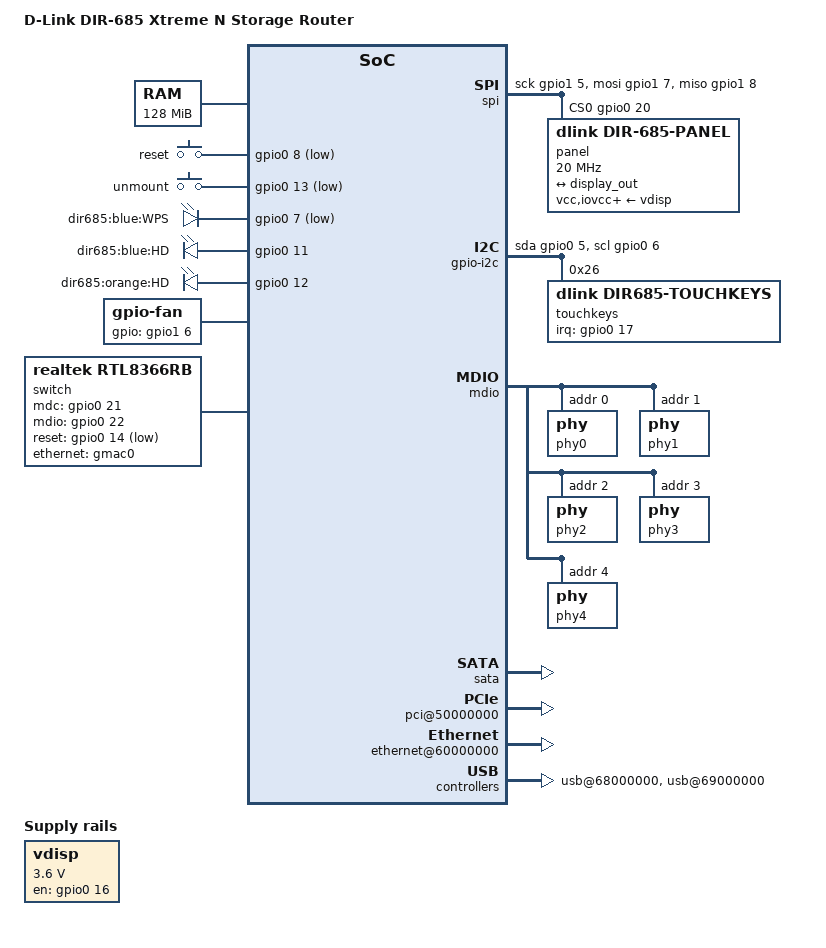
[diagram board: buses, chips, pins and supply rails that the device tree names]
/*
 * Device Tree file for D-Link DIR-685 Xtreme N Storage Router
 */

/dts-v1/;

#include "gemini.dtsi"
#include <dt-bindings/input/input.h>

/ {
	model = "D-Link DIR-685 Xtreme N Storage Router";
	compatible = "dlink,dir-685", "cortina,gemini";
	#address-cells = <1>;
	#size-cells = <1>;

	memory@0 {
		/* 128 MB SDRAM in 2 x Hynix HY5DU121622DTP-D43 */
		device_type = "memory";
		reg = <0x00000000 0x8000000>;
	};

	chosen {
		bootargs = "console=ttyS0,19200n8 root=/dev/sda1 rw rootwait";
		stdout-path = "uart0:19200n8";
	};

	gpio_keys {
		compatible = "gpio-keys";

		button-esc {
			debounce-interval = <100>;
			wakeup-source;
			linux,code = <KEY_ESC>;
			label = "reset";
			/* Collides with LPC_LAD[0], UART DCD, SSP 97RST */
			gpios = <&gpio0 8 GPIO_ACTIVE_LOW>;
		};
		button-eject {
			debounce-interval = <100>;
			wakeup-source;
			linux,code = <KEY_EJECTCD>;
			label = "unmount";
			/* Collides with LPC LFRAME, UART RTS, SSP TXD */
			gpios = <&gpio0 13 GPIO_ACTIVE_LOW>;
		};
	};

	vdisp: regulator {
		compatible = "regulator-fixed";
		regulator-name = "display-power";
		regulator-min-microvolt = <3600000>;
		regulator-max-microvolt = <3600000>;
		/* Collides with LCD E */
		gpio = <&gpio0 16 GPIO_ACTIVE_HIGH>;
		enable-active-high;
	};

	spi {
		compatible = "spi-gpio";
		#address-cells = <1>;
		#size-cells = <0>;

		/* Collides with IDE pins, that's cool (we do not use them) */
		gpio-sck = <&gpio1 5 GPIO_ACTIVE_HIGH>;
		gpio-miso = <&gpio1 8 GPIO_ACTIVE_HIGH>;
		gpio-mosi = <&gpio1 7 GPIO_ACTIVE_HIGH>;
		cs-gpios = <&gpio0 20 GPIO_ACTIVE_HIGH>;
		num-chipselects = <1>;

		panel: display@0 {
			compatible = "dlink,dir-685-panel", "ilitek,ili9322";
			reg = <0>;
			/* 50 ns min period = 20 MHz */
			spi-max-frequency = <20000000>;
			spi-cpol; /* Clock active low */
			vcc-supply = <&vdisp>;
			iovcc-supply = <&vdisp>;
			vci-supply = <&vdisp>;

			port {
				panel_in: endpoint {
					remote-endpoint = <&display_out>;
				};
			};
		};
	};

	leds {
		compatible = "gpio-leds";
		led-wps {
			label = "dir685:blue:WPS";
			/* Collides with ICE */
			gpios = <&gpio0 7 GPIO_ACTIVE_LOW>;
			default-state = "on";
			linux,default-trigger = "heartbeat";
		};
		/*
		 * These two LEDs are on the side of the device.
		 * For electrical reasons, both LEDs cannot be active
		 * at the same time so only blue or orange can be on at
		 * one time. Enabling both makes the LED go dark.
		 * The LEDs both sit inside the unmount button and the
		 * label on the case says "unmount".
		 */
		led-blue-hd {
			label = "dir685:blue:HD";
			/* Collides with LPC_SERIRQ, UART DTR, SSP FSC pins */
			gpios = <&gpio0 11 GPIO_ACTIVE_HIGH>;
			default-state = "off";
			linux,default-trigger = "disk-read";
		};
		led-orange-hd {
			label = "dir685:orange:HD";
			/* Collides with LPC_LAD[2], UART DSR, SSP ECLK pins */
			gpios = <&gpio0 12 GPIO_ACTIVE_HIGH>;
			default-state = "off";
			linux,default-trigger = "disk-write";
		};
	};

	/*
	 * This is a Sunon Maglev GM0502PFV2-8 cooling fan @10000 RPM.
	 * Since the platform has no temperature sensor, this is controlled
	 * from userspace by using the hard disks S.M.A.R.T. temperature
	 * sensor. It is turned on when the temperature exceeds 46 degrees
	 * and turned off when the temperatures goes below 41 degrees
	 * (celsius).
	 */
	gpio-fan {
		compatible = "gpio-fan";
		/* Collides with IDE */
		gpios = <&gpio1 6 GPIO_ACTIVE_HIGH>;
		gpio-fan,speed-map = <0 0>, <10000 1>;
		#cooling-cells = <2>;
	};

	/*
	 * The touchpad input is connected to a GPIO bit-banged
	 * I2C bus.
	 */
	gpio-i2c {
		compatible = "i2c-gpio";
		/* Collides with ICE */
		sda-gpios = <&gpio0 5 (GPIO_ACTIVE_HIGH|GPIO_OPEN_DRAIN)>;
		scl-gpios = <&gpio0 6 (GPIO_ACTIVE_HIGH|GPIO_OPEN_DRAIN)>;
		#address-cells = <1>;
		#size-cells = <0>;

		touchkeys@26 {
			compatible = "dlink,dir685-touchkeys";
			reg = <0x26>;
			interrupt-parent = <&gpio0>;
			/* Collides with NAND flash */
			interrupts = <17 IRQ_TYPE_EDGE_FALLING>;
		};
	};

	/* This is a RealTek RTL8366RB switch and PHY using SMI over GPIO */
	switch {
		compatible = "realtek,rtl8366rb";
		/* 22 = MDIO (has input reads), 21 = MDC (clock, output only) */
		mdc-gpios = <&gpio0 21 GPIO_ACTIVE_HIGH>;
		mdio-gpios = <&gpio0 22 GPIO_ACTIVE_HIGH>;
		reset-gpios = <&gpio0 14 GPIO_ACTIVE_LOW>;
		realtek,disable-leds;

		switch_intc: interrupt-controller {
			/* GPIO 15 provides the interrupt */
			interrupt-parent = <&gpio0>;
			interrupts = <15 IRQ_TYPE_LEVEL_LOW>;
			interrupt-controller;
			#address-cells = <0>;
			#interrupt-cells = <1>;
		};

		ports {
			#address-cells = <1>;
			#size-cells = <0>;

			port@0 {
				reg = <0>;
				label = "lan0";
				phy-handle = <&phy0>;
			};
			port@1 {
				reg = <1>;
				label = "lan1";
				phy-handle = <&phy1>;
			};
			port@2 {
				reg = <2>;
				label = "lan2";
				phy-handle = <&phy2>;
			};
			port@3 {
				reg = <3>;
				label = "lan3";
				phy-handle = <&phy3>;
			};
			port@4 {
				reg = <4>;
				label = "wan";
				phy-handle = <&phy4>;
			};
			rtl8366rb_cpu_port: port@5 {
				reg = <5>;
				label = "cpu";
				ethernet = <&gmac0>;
				phy-mode = "rgmii";
				fixed-link {
					speed = <1000>;
					full-duplex;
					pause;
				};
			};

		};

		mdio {
			compatible = "realtek,smi-mdio";
			#address-cells = <1>;
			#size-cells = <0>;

			phy0: phy@0 {
				reg = <0>;
				interrupt-parent = <&switch_intc>;
				interrupts = <0>;
			};
			phy1: phy@1 {
				reg = <1>;
				interrupt-parent = <&switch_intc>;
				interrupts = <1>;
			};
			phy2: phy@2 {
				reg = <2>;
				interrupt-parent = <&switch_intc>;
				interrupts = <2>;
			};
			phy3: phy@3 {
				reg = <3>;
				interrupt-parent = <&switch_intc>;
				interrupts = <3>;
			};
			phy4: phy@4 {
				reg = <4>;
				interrupt-parent = <&switch_intc>;
				interrupts = <12>;
			};
		};
	};

	soc {
		flash@30000000 {
			/*
			 * Flash access collides with the Chip Enable signal for
			 * the display panel, that reuse the parallel flash Chip
			 * Select 1 (CS1). We switch the pin control state so we
			 * enable these pins for flash access only when we need
			 * then, and when disabled they can be used for GPIO which
			 * is what the display panel needs.
			 */
			status = "okay";
			pinctrl-names = "enabled", "disabled";
			pinctrl-0 = <&pflash_default_pins>;
			pinctrl-1 = <&pflash_disabled_pins>;

			/* 32MB of flash */
			reg = <0x30000000 0x02000000>;

			partitions {
				compatible = "fixed-partitions";
				#address-cells = <1>;
				#size-cells = <1>;

				/*
				 * This "RedBoot" is the Storlink derivative.
				 */
				partition@0 {
					label = "RedBoot";
					reg = <0x00000000 0x00040000>;
					read-only;
				};
				/*
				 * This firmware image contains the kernel catenated
				 * with the squashfs root filesystem. For some reason
				 * this is called "upgrade" on the vendor system.
				 */
				partition@40000 {
					label = "upgrade";
					reg = <0x00040000 0x01f40000>;
					read-only;
				};
				/* RGDB, Residental Gateway Database? */
				partition@1f80000 {
					label = "rgdb";
					reg = <0x01f80000 0x00040000>;
					read-only;
				};
				/*
				 * This partition contains MAC addresses for WAN,
				 * WLAN and LAN, and the country code (for wireless
				 * I guess).
				 */
				partition@1fc0000 {
					label = "nvram";
					reg = <0x01fc0000 0x00020000>;
					read-only;
				};
				partition@1fe0000 {
					label = "LangPack";
					reg = <0x01fe0000 0x00020000>;
					read-only;
				};
			};
		};

		syscon: syscon@40000000 {
			pinctrl {
				/*
				 * gpio0bgrp cover line 5, 6 used by TK I2C
				 * gpio0bgrp cover line 7 used by WPS LED
				 * gpio0cgrp cover line 8, 13 used by keys
				 *           and 11, 12 used by the HD LEDs
				 *           and line 14, 15 used by RTL8366
				 *           RESET and phy ready
				 * gpio0egrp cover line 16 used by VDISP
				 * gpio0fgrp cover line 17 used by TK IRQ
				 * gpio0ggrp cover line 20 used by panel CS
				 * gpio0hgrp cover line 21,22 used by RTL8366RB MDIO
				 */
				gpio0_default_pins: pinctrl-gpio0 {
					mux {
						function = "gpio0";
						groups = "gpio0bgrp",
						"gpio0cgrp",
						"gpio0egrp",
						"gpio0fgrp",
						"gpio0hgrp";
					};
				};
				/*
				 * gpio1bgrp cover line 5,8,7 used by panel SPI
				 * also line 6 used by the fan
				 *
				 */
				gpio1_default_pins: pinctrl-gpio1 {
					mux {
						function = "gpio1";
						groups = "gpio1bgrp";
					};
				};
				/*
				 * These GPIO groups will be mapped in over some
				 * of the flash pins when the flash is not in
				 * active use.
				 */
				pflash_disabled_pins: pinctrl-pflash-disabled {
					mux {
						function = "gpio0";
						groups = "gpio0ggrp", "gpio0igrp", "gpio0jgrp",
							 "gpio0kgrp";
					};
				};
				pinctrl-gmii {
					mux {
						function = "gmii";
						groups = "gmii_gmac0_grp";
					};
					conf0 {
						pins = "V8 GMAC0 RXDV", "T10 GMAC1 RXDV",
						     "Y7 GMAC0 RXC", "Y11 GMAC1 RXC",
						     "T8 GMAC0 TXEN", "W11 GMAC1 TXEN",
						     "U8 GMAC0 TXC", "V11 GMAC1 TXC",
						     "W8 GMAC0 RXD0", "V9 GMAC0 RXD1",
						     "Y8 GMAC0 RXD2", "U9 GMAC0 RXD3",
						     "T7 GMAC0 TXD0", "U6 GMAC0 TXD1",
						     "V7 GMAC0 TXD2", "U7 GMAC0 TXD3",
						     "Y12 GMAC1 RXD0", "V12 GMAC1 RXD1",
						     "T11 GMAC1 RXD2", "W12 GMAC1 RXD3",
						     "U10 GMAC1 TXD0", "Y10 GMAC1 TXD1",
						     "W10 GMAC1 TXD2", "T9 GMAC1 TXD3";
						skew-delay = <7>;
					};
					/* Set up drive strength on GMAC0 to 16 mA */
					conf1 {
						groups = "gmii_gmac0_grp";
						drive-strength = <16>;
					};
				};
			};
		};

		sata: sata@46000000 {
			cortina,gemini-ata-muxmode = <0>;
			cortina,gemini-enable-sata-bridge;
			status = "okay";
		};

		gpio0: gpio@4d000000 {
			pinctrl-names = "default";
			pinctrl-0 = <&gpio0_default_pins>;
		};

		gpio1: gpio@4e000000 {
			pinctrl-names = "default";
			pinctrl-0 = <&gpio1_default_pins>;
		};

		pci@50000000 {
			status = "okay";
			interrupt-map-mask = <0xf800 0 0 7>;
			interrupt-map =
				<0x4800 0 0 1 &pci_intc 0>, /* Slot 9 */
				<0x4800 0 0 2 &pci_intc 1>,
				<0x4800 0 0 3 &pci_intc 2>,
				<0x4800 0 0 4 &pci_intc 3>,
				<0x5000 0 0 1 &pci_intc 1>, /* Slot 10 */
				<0x5000 0 0 2 &pci_intc 2>,
				<0x5000 0 0 3 &pci_intc 3>,
				<0x5000 0 0 4 &pci_intc 0>,
				<0x5800 0 0 1 &pci_intc 2>, /* Slot 11 */
				<0x5800 0 0 2 &pci_intc 3>,
				<0x5800 0 0 3 &pci_intc 0>,
				<0x5800 0 0 4 &pci_intc 1>,
				<0x6000 0 0 1 &pci_intc 3>, /* Slot 12 */
				<0x6000 0 0 2 &pci_intc 0>,
				<0x6000 0 0 3 &pci_intc 1>,
				<0x6000 0 0 4 &pci_intc 2>;
		};

		ethernet@60000000 {
			status = "okay";

			ethernet-port@0 {
				phy-mode = "rgmii";
				fixed-link {
					speed = <1000>;
					full-duplex;
					pause;
				};
			};
			ethernet-port@1 {
				/* Not used in this platform */
			};
		};

		ata@63000000 {
			status = "okay";
		};

		display-controller@6a000000 {
			status = "okay";

			port@0 {
				reg = <0>;
				display_out: endpoint {
					remote-endpoint = <&panel_in>;
				};
			};
		};

		usb@68000000 {
			status = "okay";
		};

		usb@69000000 {
			status = "okay";
		};
	};
};
